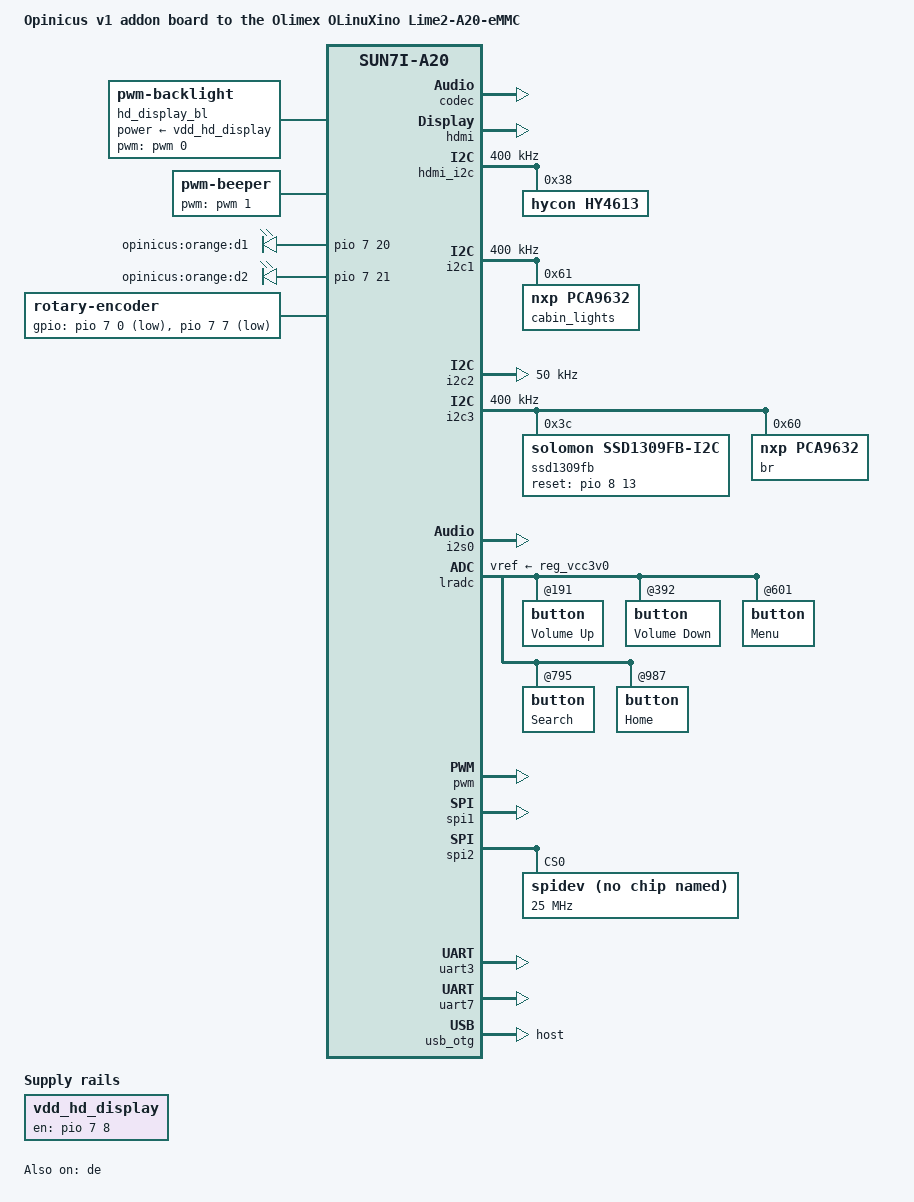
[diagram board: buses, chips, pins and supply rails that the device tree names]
/*
 * Copyright 2015 - Ultimaker B.V.
 * Author Olliver Schinagl <o.schinagl@ultimaker.com>
 *
 * This file is dual-licensed: you can use it either under the terms
 * of the GPL or the X11 license, at your option. Note that this dual
 * licensing only applies to this file, and not this project as a
 * whole.
 *
 *  a) This file is free software; you can redistribute it and/or
 *     modify it under the terms of the GNU General Public License as
 *     published by the Free Software Foundation; either version 2 of the
 *     License, or (at your option) any later version.
 *
 *     This file is distributed in the hope that it will be useful,
 *     but WITHOUT ANY WARRANTY; without even the implied warranty of
 *     MERCHANTABILITY or FITNESS FOR A PARTICULAR PURPOSE.  See the
 *     GNU General Public License for more details.
 *
 * Or, alternatively,
 *
 *  b) Permission is hereby granted, free of charge, to any person
 *     obtaining a copy of this software and associated documentation
 *     files (the "Software"), to deal in the Software without
 *     restriction, including without limitation the rights to use,
 *     copy, modify, merge, publish, distribute, sublicense, and/or
 *     sell copies of the Software, and to permit persons to whom the
 *     Software is furnished to do so, subject to the following
 *     conditions:
 *
 *     The above copyright notice and this permission notice shall be
 *     included in all copies or substantial portions of the Software.
 *
 *     THE SOFTWARE IS PROVIDED "AS IS", WITHOUT WARRANTY OF ANY KIND,
 *     EXPRESS OR IMPLIED, INCLUDING BUT NOT LIMITED TO THE WARRANTIES
 *     OF MERCHANTABILITY, FITNESS FOR A PARTICULAR PURPOSE AND
 *     NONINFRINGEMENT. IN NO EVENT SHALL THE AUTHORS OR COPYRIGHT
 *     HOLDERS BE LIABLE FOR ANY CLAIM, DAMAGES OR OTHER LIABILITY,
 *     WHETHER IN AN ACTION OF CONTRACT, TORT OR OTHERWISE, ARISING
 *     FROM, OUT OF OR IN CONNECTION WITH THE SOFTWARE OR THE USE OR
 *     OTHER DEALINGS IN THE SOFTWARE.
 */

#include "sun7i-a20-olinuxino-lime2-emmc.dts"

#include <dt-bindings/gpio/gpio.h>
#include <dt-bindings/input/input.h>
#include <dt-bindings/pinctrl/sun4i-a10.h>
#include <dt-bindings/pwm/pwm.h>

/ {
	model = "Opinicus v1 addon board to the Olimex OLinuXino Lime2-A20-eMMC";
	compatible = "ultimaker,opinicus-emmcv1", "olimex,a20-olinuxino-lime2", "allwinner,sun7i-a20";

	aliases {
		serial1 = &uart3;
		serial2 = &uart7;
	};

	vdd_hd_display: vdd_hd_display_reg {
		compatible ="regulator-fixed";
		regulator-name = "vdd-hd-display-supply";
		pinctrl-names = "default";
		pinctrl-0 = <&hd_display_power>;
		gpio = <&pio 7 8 GPIO_ACTIVE_HIGH>;
		enable-active-high;
		regulator-boot-on;
	};

	hd_display_bl: hd_display_bl {
		compatible = "pwm-backlight";
		//pinctrl-names = "default";
		//pinctrl-0 = <&bl_power_opinicus>;
		//enable-gpios = <&pio 7 8 GPIO_ACTIVE_HIGH>;
		power-supply = <&vdd_hd_display>;
		pwms = <&pwm 0 8333334 PWM_POLARITY_INVERTED>;
		brightness-levels = <0 1 2 4 6 8 11 15 20 25 31 39 47 56 67
				     79 92 107 123 141 160 181 204 228 255>;
		default-brightness-level = <20>;
	};

	beeper {
		pwm-names = "opinicus-board-beeper";
		compatible = "pwm-beeper";
		pwms = <&pwm 1 500000 0>;
		status = "okay";
	};

	leds {
		green {
			linux,default-trigger = "mmc0";
		};

		d1 {
			label = "opinicus:orange:d1";
			gpios = <&pio 7 20 GPIO_ACTIVE_HIGH>;
			default-state = "on";
		};

		d2 {
			label = "opinicus:orange:d2";
			gpios = <&pio 7 21 GPIO_ACTIVE_HIGH>;
			default-state = "on";
		};
	};

	max98357a: max98357a {
		compatible = "maxim,max98357a";
		status = "okay";
	};


//	panel: panel {
//		compatible = "olimex,lcd-olinuxino-43-ts";
//		#address-cells = <1>;
//		#size-cells = <0>;
//		pinctrl-names = "default";
//		pinctrl-0 = <&lcd0_rgb888_pins>;
//		backlight = <&hd_display_bl>;

//		port {
//			#address-cells = <1>;
//			#size-cells = <0>;

//			rgb_in_tcon0: endpoint@0 {
//				reg = <0>;
//				remote-endpoint = <&tcon0_out_rgb>;
//			};

		//	rgb_in_tcon1: endpoint@1 {
		//		reg = <1>;
		//		remote-endpoint = <&tcon1_out_rgb>;
		//	};
//		};
//	};

	rotary {
		pinctrl-names = "default";
		pinctrl-0 = <&rotary_pins_opinicus>;
		compatible = "rotary-encoder";
		gpios = <&pio 7 0 GPIO_ACTIVE_LOW>, <&pio 7 7 GPIO_ACTIVE_LOW>; /* todo; named gpios!! */
		linux,axis = <8>; /* REL_Z: TODO add to dt-include and possible add 'LEFT' axis */
		rotary-encoder,relative-axis;
		rotary-encoder,steps-per-period = <4>;
		status = "okay";
	};

	sound {
		compatible = "simple-audio-card";
		simple-audio-card,name = "Main speaker output";
		simple-audio-card-format = "i2s";
		simple-audio-card,mclk-fs = <256>;
		status = "okay";
		simple-audio-card,cpu {
			sound-dai = <&i2s0>;
		};
		simple-audio-card,codec {
			sound-dai = <&max98357a>;
		};
	};
};

&codec {
	status = "okay";
};

&de {
	status = "okay";
};

&hdmi {
	status = "okay";
};

&hdmi_i2c {
	clock-frequency = <400000>;

	hy4613: hy461x@38 {
		compatible = "hycon,hy4613";
		reg = <0x38>;
		poll-interval = <50>;
		touchscreen-max-size-x = <800>;
		touchscreen-min-size-y = <320>;
	};
};

&i2c1 {
	pinctrl-names = "default";
	pinctrl-0 = <&i2c1_pins_a>;
	clock-frequency = <400000>;
	status = "okay";

	cabin_lights: button@61 {
		compatible = "nxp,pca9632";
		#address-cells = <1>;
		#size-cells = <0>;
		reg = <0x61>;
		nxp,totem-pole;
		nxp,inverted-out;
		nxp,hw-blink;

		red@0 {
			label = "red:cabin_lights";
			reg = <0>;
			linux,default-trigger = "none";
		};

		green@1 {
			label = "green:cabin_lights";
			reg = <1>;
			linux,default-trigger = "none";
		};

		blue@2 {
			label = "blue:cabin_lights";
			reg = <2>;
			linux,default-trigger = "none";
		};

		unused@3 {
			label = "white:cabin_lights";
			reg = <3>;
			linux,default-trigger = "default-on";
		};
	};
};

&i2c2 {
	pinctrl-names = "default";
	pinctrl-0 = <&i2c2_pins_a>;
	clock-frequency = <50000>;
	status = "okay";
};

&i2c3 {
	pinctrl-names = "default";
	pinctrl-0 = <&i2c3_pins_a>;
	clock-frequency = <400000>;
	status = "okay";

	ssd1309fb: ssd130x@3c {
		compatible = "solomon,ssd1309fb-i2c";
		pinctrl-names = "default";
		pinctrl-0 = <&oled_pins_opinicus>;
		reg = <0x3c>;
		reset-gpios = <&pio 8 13 GPIO_ACTIVE_HIGH>;
		solomon,width = <128>;
		solomon,height = <64>;
		solomon,com-invdir;
		solomon,page-offset = <0>;
		solomon,prechargep1 = <2>;
		solomon,prechargep2 = <8>;
	};

	br: button@60 {
		compatible = "nxp,pca9632";
		#address-cells = <1>;
		#size-cells = <0>;
		reg = <0x60>;
		nxp,totem-pole;
		nxp,inverted-out;
		nxp,hw-blink;

		red@0 {
			label = "red:button_ring";
			reg = <0>;
			linux,default-trigger = "none";
		};

		green@1 {
			label = "green:button_green";
			reg = <1>;
			linux,default-trigger = "default-on";
		};

		blue@2 {
			label = "blue:button_blue";
			reg = <2>;
			linux,default-trigger = "default-on";
		};

		unused@3 {
			label = "unused";
			reg = <3>;
			linux,default-trigger = "backlight";
		};
	};
};

&i2s0 {
	pinctrl-names = "default";
//	pinctrl-0 = <&i2s0_bclk_pins_a>, <&i2s0_lrclk_pins_a>, <&i2s0_sdo_pins_a>;
	status = "okay";
};

&lradc {
	vref-supply = <&reg_vcc3v0>; /* move to lime define, maybe whole thing */
	status = "okay";

	button {
		label = "Encoder click";
		linux,code = <KEY_ENTER>;
		channel = <0>;
		voltage = <0>;
	};

	button@191 {
		label = "Volume Up";
		linux,code = <KEY_VOLUMEUP>;
		channel = <0>;
		voltage = <191274>;
	};

	button@392 {
		label = "Volume Down";
		linux,code = <KEY_VOLUMEDOWN>;
		channel = <0>;
		voltage = <392644>;
	};

	button@601 {
		label = "Menu";
		linux,code = <KEY_MENU>;
		channel = <0>;
		voltage = <601151>;
	};

	button@795 {
		label = "Search";
		linux,code = <KEY_SEARCH>;
		channel = <0>;
		voltage = <795090>;
	};

	button@987 {
		label = "Home";
		linux,code = <KEY_HOMEPAGE>;
		channel = <0>;
		voltage = <987387>;
	};

	button@1184 {
		label = "Esc";
		linux,code = <KEY_ESC>;
		channel = <0>;
		voltage = <1184678>;
	};

	button@1398 {
		label = "Enter";
		linux,code = <KEY_ENTER>;
		channel = <0>;
		voltage = <1398804>;
	};
};

&pio {
	hy4613_reset_pin_opinicus: reset_pins {
		pins = "PI16";
		function = "gpio_out";
		bias-pull-up;
	};

	led_pins_opinicus: led_pins {
		pins = "PH20", "PH21";
		function = "gpio_out";
		allwinner,drive = <SUN4I_PINCTRL_20_MA>;
		allwinner,pull = <SUN4I_PINCTRL_NO_PULL>;
	};

	oled_pins_opinicus: oled_pins {
		pins = "PI13";
		function = "gpio_out";
		allwinner,pull = <SUN4I_PINCTRL_PULL_DOWN>;
	};

	hd_display_power: hd_display_power_pins {
		pins = "PH8";
		function = "gpio_out";
		allwinner,drive = <SUN4I_PINCTRL_10_MA>;
	};

	rotary_pins_opinicus: rotary_pins {
		pins = "PH0", "PH7";
		function = "gpio_in";
		allwinner,drive = <SUN4I_PINCTRL_10_MA>;
		allwinner,pull = <SUN4I_PINCTRL_PULL_UP>;
	};
};

&pwm {
	pinctrl-names = "default";
	pinctrl-0 = <&pwm0_pins_a>, <&pwm1_pins_a>;
	status = "okay";
};

&rtp {
	allwinner,ts-attached;
	touchscreen-inverted-x;
};

&spi1 {
	pinctrl-names = "default";
	pinctrl-0 = <&spi1_pins_a>;
	status = "okay";
};

&spi2 {
	pinctrl-names = "default";
	pinctrl-0 = <&spi2_pins_a>;
	status = "okay";

	spidev@0 {
		compatible = "spidev";
		spi-max-frequency = <25000000>;
		reg = <0>;
	};
};

//&tcon0_out {
//	tcon0_out_rgb: endpoint@0 {
//		reg = <0>;
//		remote-endpoint = <&rgb_in_tcon0>;
//		allwinner,tcon-channel = <0>;
//	};
//};

//&tcon1_out {
//	tcon1_out_rgb: endpoint@0 {
//		reg = <0>;
//		remote-endpoint = <&rgb_in_tcon1>;
//		allwinner,tcon-channel = <0>;
//	};
//};

&uart3 {
	pinctrl-names = "default";
	pinctrl-0 = <&uart3_pins_a>;
	cts-override;
	status = "okay";
};

&uart7 {
	pinctrl-names = "default";
	pinctrl-0 = <&uart7_pins_a>;
	status = "okay";
};

&usb_otg {
	dr_mode = "host";
};

&usbphy {
	/* Unset otg detect pins as we force dr_mode */
	/delete-property/ usb0_id_det-gpio;
	/delete-property/ usb0_vbus_det-gpio;
};
